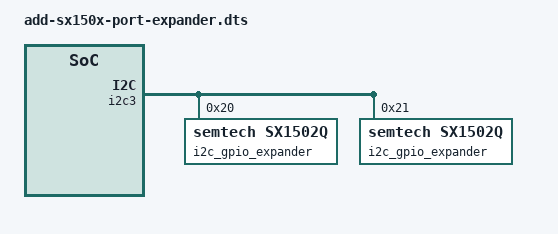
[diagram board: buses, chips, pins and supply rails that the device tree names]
&i2c3 {
        i2c_gpio_expander@20 {
                #gpio-cells = <2>;
                #interrupt-cells = <2>;
                compatible = "semtech,sx1502q";
                reg = <0x20>;
                gpio-controller;
                pinctrl-names = "default";
                pinctrl-0 = <&gpio1_cfg_pins>;
                gpio1_cfg_pins: gpio1-cfg {
                        pins = "gpio1";
                        bias-pull-up;
                };
        };
        i2c_gpio_expander@21 {
                #gpio-cells = <2>;
                #interrupt-cells = <2>;
                compatible = "semtech,sx1502q";
                reg = <0x21>;
                gpio-controller;
                pinctrl-names = "default";
                pinctrl-0 = <&gpio2_cfg_pins>;
                gpio2_cfg_pins: gpio2-cfg {
                        pins = "gpio2";
                        bias-pull-up;
                };
        };
};


